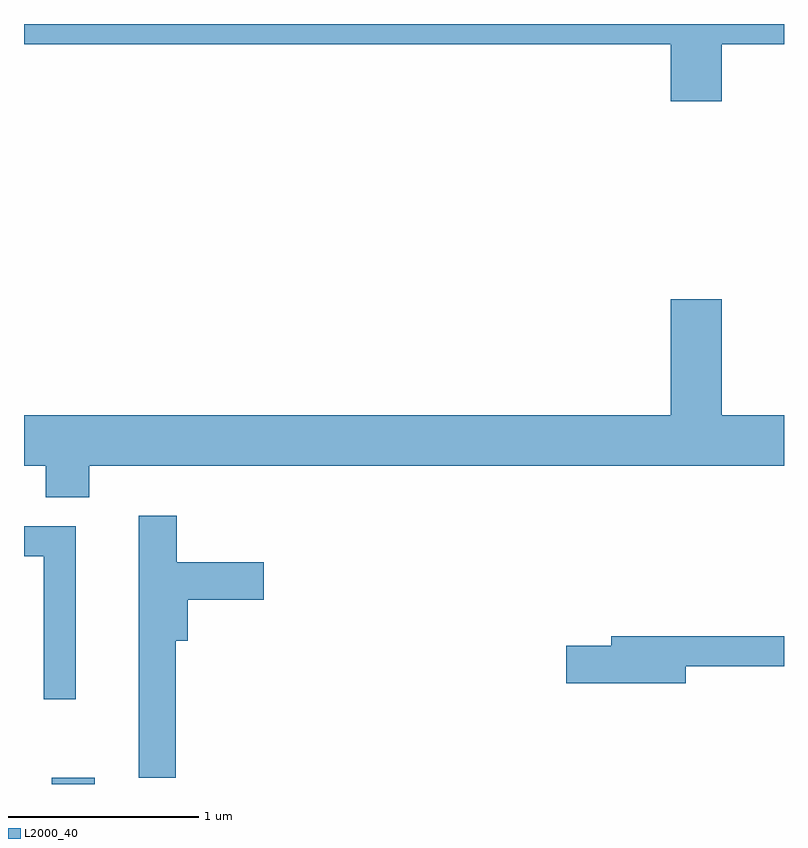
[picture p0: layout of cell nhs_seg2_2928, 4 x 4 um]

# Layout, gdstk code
import gdstk
lib = gdstk.Library(unit=1e-6, precision=1e-09)
def R(c, l, rs):  # rectangles x0, y0, x1, y1
    for r in rs: c.add(gdstk.rectangle(r[:2], r[2:], *l))
def P(c, l, *ps):  # polygons
    for p in ps: c.add(gdstk.Polygon(p, *l))
L2000_40 = (2000, 40)

nhs_seg2_2928 = lib.new_cell('nhs_seg2_2928')
R(nhs_seg2_2928, L2000_40, [(271.756,997.802,271.984,997.834)])
P(nhs_seg2_2928, L2000_40, [(275.284,1001.696),(275.611,1001.696),(275.611,1001.802),(271.611,1001.802),(271.611,1001.696),(275.016,1001.696),(275.016,1001.396),(275.284,1001.396)],
  [(271.954,999.476),(275.611,999.476),(275.611,999.744),(275.284,999.744),(275.284,1000.354),(275.016,1000.354),(275.016,999.744),(271.611,999.744),(271.611,999.476),(271.726,999.476),(271.726,999.311),(271.954,999.311)],
  [(272.409,998.556),(272.474,998.556),(272.474,998.771),(272.874,998.771),(272.874,998.969),(272.414,998.969),(272.414,999.214),(272.216,999.214),(272.216,997.836),(272.409,997.836)],
  [(271.884,999.159),(271.611,999.159),(271.611,999.001),(271.716,999.001),(271.716,998.248),(271.884,998.248)],
  [(275.094,998.421),(275.611,998.421),(275.611,998.579),(274.701,998.579),(274.701,998.529),(274.466,998.529),(274.466,998.331),(275.094,998.331)])

lib.write_gds('nhs_seg2_2928.gds')
